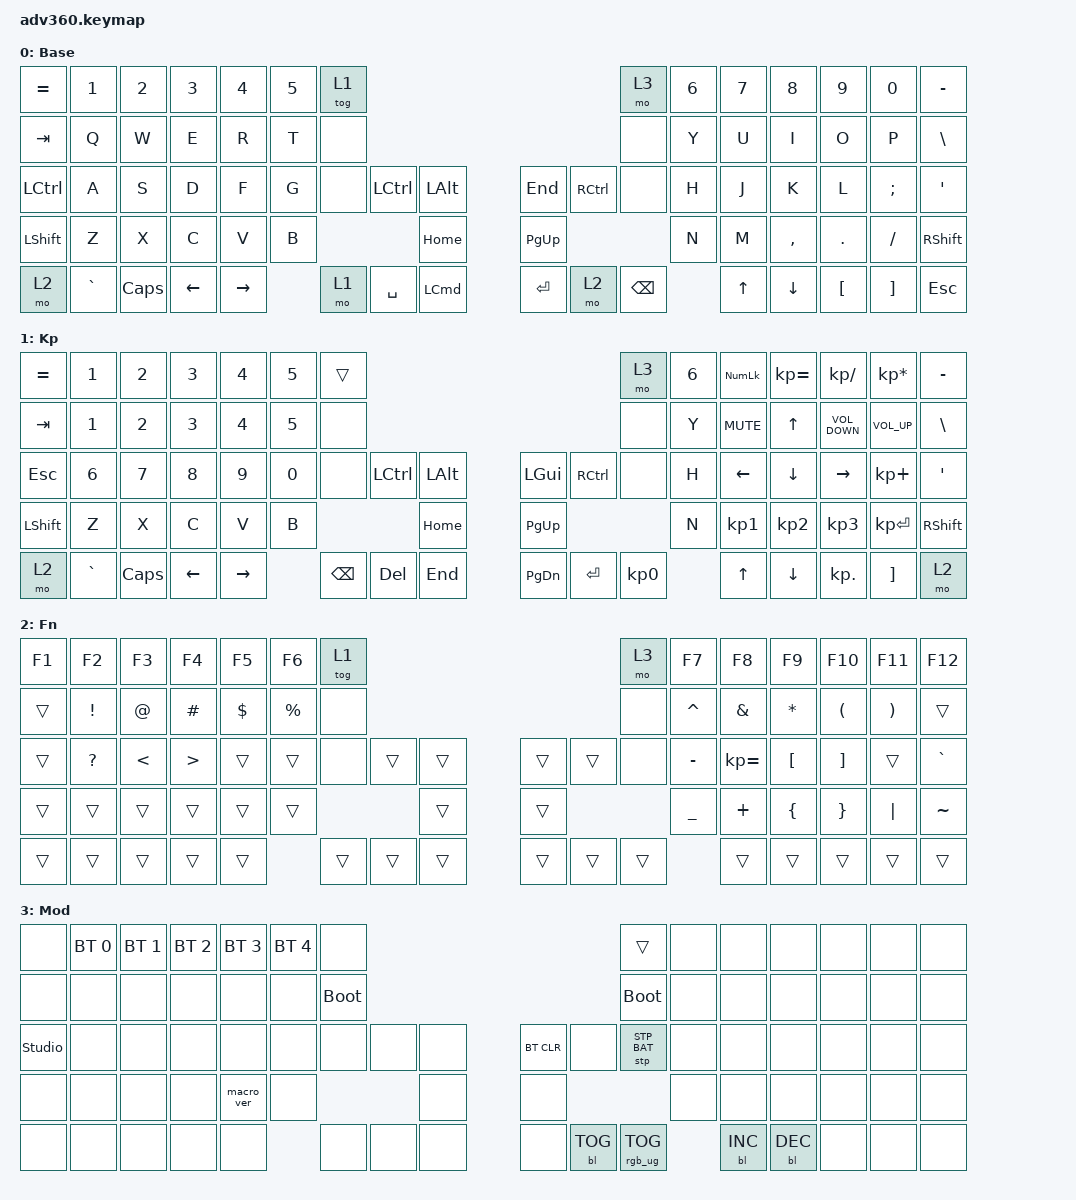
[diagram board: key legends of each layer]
#include <dt-bindings/zmk/stp.h>
#include <behaviors.dtsi>
#include <dt-bindings/zmk/backlight.h>
#include <dt-bindings/zmk/bt.h>
#include <dt-bindings/zmk/keys.h>
#include <dt-bindings/zmk/rgb.h>

/ {
    behaviors {
        #include "macros.dtsi"
      #include "version.dtsi"

        hm: homerow_mods {
            compatible = "zmk,behavior-hold-tap";
            label = "HOMEROW_MODS";
            #binding-cells = <2>;
            tapping-term-ms = <200>;
            quick_tap_ms = <175>;
            flavor = "tap-preferred";
            bindings = <&kp>, <&kp>;
        };
    };

    keymap {
        compatible = "zmk,keymap";

        default_layer {
            display-name = "Base";
            bindings = <
&kp EQUAL         &kp N1     &kp N2    &kp N3    &kp N4     &kp N5  &tog 1                                                         &mo 3          &kp N6  &kp N7  &kp N8     &kp N9    &kp N0    &kp MINUS
&kp TAB           &kp Q      &kp W     &kp E     &kp R      &kp T   &none                                                          &none          &kp Y   &kp U   &kp I      &kp O     &kp P     &kp BSLH
&kp LEFT_CONTROL  &kp A      &kp S     &kp D     &kp F      &kp G   &none   &kp LCTRL  &kp LALT              &kp END    &kp RCTRL  &none          &kp H   &kp J   &kp K      &kp L     &kp SEMI  &kp SQT
&kp LSHFT         &kp Z      &kp X     &kp C     &kp V      &kp B                      &kp HOME              &kp PG_UP                            &kp N   &kp M   &kp COMMA  &kp DOT   &kp FSLH  &kp RSHFT
&mo 2             &kp GRAVE  &kp CAPS  &kp LEFT  &kp RIGHT          &mo 1   &kp SPACE  &kp LEFT_COMMAND      &kp ENTER  &mo 2      &kp BACKSPACE          &kp UP  &kp DOWN   &kp LBKT  &kp RBKT  &kp ESC
            >;
        };

        keypad {
            display-name = "Kp";
            bindings = <
&kp EQUAL  &kp N1        &kp N2        &kp N3        &kp N4        &kp N5  &trans                                                   &mo 3      &kp N6  &kp KP_NUM  &kp KP_EQUAL    &kp KP_DIVIDE      &kp KP_MULTIPLY  &kp MINUS
&kp TAB    &kp NUMBER_1  &kp NUMBER_2  &kp NUMBER_3  &kp NUMBER_4  &kp N5  &none                                                    &none      &kp Y   &kp C_MUTE  &kp UP_ARROW    &kp C_VOLUME_DOWN  &kp C_VOL_UP     &kp BSLH
&kp ESC    &kp NUMBER_6  &kp N7        &kp N8        &kp N9        &kp N0  &none     &kp LCTRL  &kp LALT      &kp LGUI   &kp RCTRL  &none      &kp H   &kp LEFT    &kp DOWN_ARROW  &kp RIGHT_ARROW    &kp KP_PLUS      &kp SQT
&kp LSHFT  &kp Z         &kp X         &kp C         &kp V         &kp B                        &kp HOME      &kp PG_UP                        &kp N   &kp KP_N1   &kp KP_N2       &kp KP_N3          &kp KP_ENTER     &kp RSHFT
&mo 2      &kp GRAVE     &kp CAPS      &kp LEFT      &kp RIGHT             &kp BSPC  &kp DEL    &kp END       &kp PG_DN  &kp ENTER  &kp KP_N0          &kp UP      &kp DOWN        &kp KP_DOT         &kp RBKT         &mo 2
            >;
        };

        fn {
            display-name = "Fn";
            bindings = <
&kp F1  &kp F2           &kp F3         &kp F4            &kp F5      &kp F6       &tog 1                                      &mo 3   &kp F7          &kp F8         &kp F9            &kp F10               &kp F11                &kp F12
&trans  &kp EXCLAMATION  &kp AT_SIGN    &kp HASH          &kp DOLLAR  &kp PERCENT  &none                                       &none   &kp CARET       &kp AMPERSAND  &kp ASTERISK      &kp LEFT_PARENTHESIS  &kp RIGHT_PARENTHESIS  &trans
&trans  &kp QUESTION     &kp LESS_THAN  &kp GREATER_THAN  &trans      &trans       &none   &trans  &trans      &trans  &trans  &none   &kp MINUS       &kp KP_EQUAL   &kp LEFT_BRACKET  &kp RIGHT_BRACKET     &trans                 &kp GRAVE
&trans  &trans           &trans         &trans            &trans      &trans                       &trans      &trans                  &kp UNDERSCORE  &kp PLUS       &kp LEFT_BRACE    &kp RIGHT_BRACE       &kp PIPE               &kp TILDE
&trans  &trans           &trans         &trans            &trans                   &trans  &trans  &trans      &trans  &trans  &trans                  &trans         &trans            &trans                &trans                 &trans
            >;
        };

        mod {
            display-name = "Mod";
            bindings = <
&none           &bt BT_SEL 0  &bt BT_SEL 1  &bt BT_SEL 2  &bt BT_SEL 3  &bt BT_SEL 4  &none                                                  &trans           &none  &none       &none       &none  &none  &none
&none           &none         &none         &none         &none         &none         &bootloader                                            &bootloader      &none  &none       &none       &none  &none  &none
&studio_unlock  &none         &none         &none         &none         &none         &none        &none  &none      &bt BT_CLR  &none       &stp STP_BAT     &none  &none       &none       &none  &none  &none
&none           &none         &none         &none         &macro_ver    &none                             &none      &none                                    &none  &none       &none       &none  &none  &none
&none           &none         &none         &none         &none                       &none        &none  &none      &none       &bl BL_TOG  &rgb_ug RGB_TOG         &bl BL_INC  &bl BL_DEC  &none  &none  &none
            >;
        };

        extra1 {
            display-name = "Red";
            status = "reserved";
        };

        extra2 {
            display-name = "Purple";
            status = "reserved";
        };

        extra3 {
            display-name = "Cyan";
            status = "reserved";
        };

        extra4 {
            display-name = "Yellow";
            status = "reserved";
        };
    };
};
